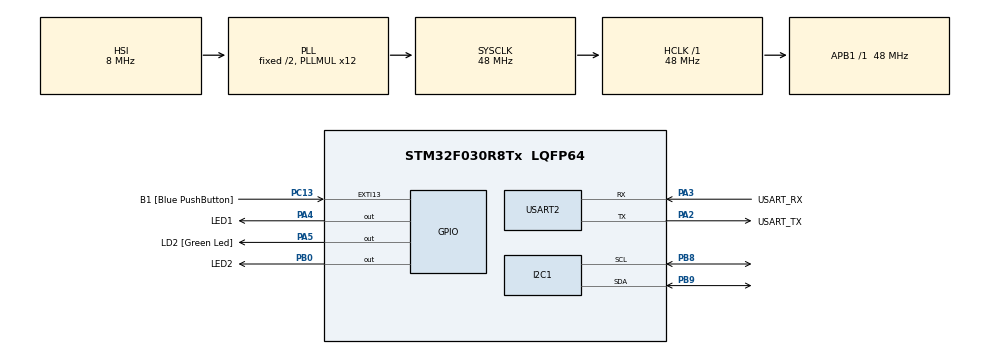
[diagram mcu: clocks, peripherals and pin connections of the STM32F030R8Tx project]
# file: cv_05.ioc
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Dma.Request0=USART2_RX
Dma.USART2_RX.0.Direction=DMA_PERIPH_TO_MEMORY
Dma.USART2_RX.0.Instance=DMA1_Channel5
Dma.USART2_RX.0.MemDataAlignment=DMA_MDATAALIGN_BYTE
Dma.USART2_RX.0.MemInc=DMA_MINC_ENABLE
Dma.USART2_RX.0.Mode=DMA_CIRCULAR
Dma.USART2_RX.0.PeriphDataAlignment=DMA_PDATAALIGN_BYTE
Dma.USART2_RX.0.PeriphInc=DMA_PINC_DISABLE
Dma.USART2_RX.0.Priority=DMA_PRIORITY_LOW
Mcu.Family=STM32F0
Mcu.Name=STM32F030R8Tx
Mcu.Package=LQFP64
NVIC.DMA1_Channel4_5_IRQn=true\:0\:0\:false\:false\:true\:false\:true
PA13.GPIO_Label=TMS
PA13.Mode=Serial_Wire
PA13.Signal=SYS_SWDIO
PA14.GPIO_Label=TCK
PA14.Mode=Serial_Wire
PA14.Signal=SYS_SWCLK
PA2.GPIO_Label=USART_TX
PA2.GPIO_Mode=GPIO_MODE_AF_PP
PA2.GPIO_PuPd=GPIO_NOPULL
PA2.GPIO_Speed=GPIO_SPEED_FREQ_LOW
PA2.Mode=Asynchronous
PA2.Signal=USART2_TX
PA3.GPIO_Label=USART_RX
PA3.GPIO_Mode=GPIO_MODE_AF_PP
PA3.GPIO_PuPd=GPIO_NOPULL
PA3.GPIO_Speed=GPIO_SPEED_FREQ_LOW
PA3.Mode=Asynchronous
PA3.Signal=USART2_RX
PA4.GPIO_Label=LED1
PA4.Signal=GPIO_Output
PA5.GPIO_Label=LD2 [Green Led]
PA5.GPIO_Mode=GPIO_MODE_OUTPUT_PP
PA5.GPIO_PuPd=GPIO_NOPULL
PA5.GPIO_Speed=GPIO_SPEED_FREQ_LOW
PA5.Signal=GPIO_Output
PB0.GPIO_Label=LED2
PB0.Signal=GPIO_Output
PB8.Mode=I2C
PB8.Signal=I2C1_SCL
PB9.Mode=I2C
PB9.Signal=I2C1_SDA
PC13.GPIO_Label=B1 [Blue PushButton]
PC13.GPIO_ModeDefaultEXTI=GPIO_MODE_IT_FALLING
PC13.Signal=GPXTI13
PC14-OSC32_IN.Mode=LSE-External-Oscillator
PC14-OSC32_IN.Signal=RCC_OSC32_IN
PC15-OSC32_OUT.Mode=LSE-External-Oscillator
PC15-OSC32_OUT.Signal=RCC_OSC32_OUT
PF0-OSC_IN.Mode=HSE-External-Clock-Source
PF0-OSC_IN.Signal=RCC_OSC_IN
PF1-OSC_OUT.Signal=RCC_OSC_OUT
ProjectManager.HeapSize=0x200
ProjectManager.StackSize=0x400
ProjectManager.TargetToolchain=STM32CubeIDE
RCC.AHBFreq_Value=48000000
RCC.APB1Freq_Value=48000000
RCC.APB1TimFreq_Value=48000000
RCC.HCLKFreq_Value=48000000
RCC.PLLMUL=RCC_PLL_MUL12
RCC.SYSCLKFreq_VALUE=48000000
RCC.SYSCLKSource=RCC_SYSCLKSOURCE_PLLCLK
USART2.VirtualMode-Asynchronous=VM_ASYNC
board=NUCLEO-F030R8

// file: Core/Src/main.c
/* USER CODE BEGIN Header */
/**
  ******************************************************************************
  * @file           : main.c
  * @brief          : Main program body
  ******************************************************************************
  * @attention
  *
  * <h2><center>&copy; Copyright (c) 2021 STMicroelectronics.
  * All rights reserved.</center></h2>
  *
  * This software component is licensed by ST under BSD 3-Clause license,
  * the "License"; You may not use this file except in compliance with the
  * License. You may obtain a copy of the License at:
  *                        opensource.org/licenses/BSD-3-Clause
  *
  ******************************************************************************
  */
/* USER CODE END Header */
#include "main.h"

/* USER CODE BEGIN Includes */
#include <stdio.h>
#include <string.h>
#include <stdlib.h>
/* USER CODE END Includes */

I2C_HandleTypeDef hi2c1;

UART_HandleTypeDef huart2;
DMA_HandleTypeDef hdma_usart2_rx;

/* USER CODE BEGIN PV */
#define EEPROM_ADDR 0xA0
#define CMD_BUFFER_LEN 64

#define RX_BUFFER_LEN 64
static uint8_t uart_rx_buf[RX_BUFFER_LEN];
static volatile uint16_t uart_rx_read_ptr = 0;
#define uart_rx_write_ptr (RX_BUFFER_LEN - hdma_usart2_rx.Instance->CNDTR)
/* USER CODE END PV */

void SystemClock_Config(void);
static void MX_GPIO_Init(void);
static void MX_USART2_UART_Init(void);
static void MX_DMA_Init(void);
static void MX_I2C1_Init(void);
/* USER CODE BEGIN PFP */

int _write(int file, char const *buf, int n)
{
 /* stdout redirection to UART2 */
 HAL_UART_Transmit(&huart2, (uint8_t*)(buf), n, HAL_MAX_DELAY);
 return n;
}

static void uart_process_command(char *cmd)
{
	//printf("prijato: '%s'\n", cmd);

	char *token;
	token = strtok(cmd, " ");
	if (strcasecmp(token, "HELLO") == 0) {
		printf("Komunikace OK\n");
	}
	else if (strcasecmp(token, "LED1") == 0) {
		token = strtok(NULL, " ");
		if (strcasecmp(token, "ON") == 0) HAL_GPIO_WritePin(LED1_GPIO_Port, LED1_Pin, GPIO_PIN_SET);
		else if (strcasecmp(token, "OFF") == 0) HAL_GPIO_WritePin(LED1_GPIO_Port, LED1_Pin, GPIO_PIN_RESET);
		printf("OK\n");
	}

	else if (strcasecmp(token, "LED2") == 0) {
		token = strtok(NULL, " ");
		if (strcasecmp(token, "ON") == 0) HAL_GPIO_WritePin(LED2_GPIO_Port, LED2_Pin, GPIO_PIN_SET);
		else if (strcasecmp(token, "OFF") == 0) HAL_GPIO_WritePin(LED2_GPIO_Port, LED2_Pin, GPIO_PIN_RESET);
		printf("OK\n");
	}

	else if (strcasecmp(token, "STATUS") == 0) {
		char *state1 = 0;
		char *state2 = 0;
		if (HAL_GPIO_ReadPin(LED1_GPIO_Port, LED1_Pin)==0) {state1 = "OFF";} else {state1 = "ON";};
		if (HAL_GPIO_ReadPin(LED2_GPIO_Port, LED2_Pin)==0) {state1 = "OFF";} else {state1 = "ON";};
		printf("Stav LED1 = %s , LED2 = %s\n",state1,state2);
	}

	else if(strcasecmp(token, "READ")==0) {
		token = strtok(NULL, " ");
		uint16_t addr = atoi(token);
		uint8_t value;
		HAL_I2C_Mem_Read(&hi2c1, EEPROM_ADDR, addr, I2C_MEMADD_SIZE_16BIT, &value, 1, 1000);
		printf("Adresa 0x%04X = 0x%02X\n", addr, value);
	}

	else if(strcasecmp(token, "WRITE")==0) {
		token = strtok(NULL, " ");
		uint16_t addr = atoi(token);
		token = strtok(NULL, " ");
		uint8_t value = atoi(token);
		HAL_I2C_Mem_Write(&hi2c1, EEPROM_ADDR, addr, I2C_MEMADD_SIZE_16BIT, &value, 1, 1000);
		/* Check if the EEPROM is ready for a new operation */
		while (HAL_I2C_IsDeviceReady(&hi2c1, EEPROM_ADDR, 300, 1000) == HAL_TIMEOUT) {}
		printf("OK\n");
	}

	else if(strcasecmp(token, "DUMP")==0) {

		for(uint8_t i = 0; i<8; i++ ) {
		printf(" 0x%02X ", i);
		}
		printf("\n");
		for(uint8_t i = 8; i<16; i++ ) {
		printf(" 0x%02X ", i);
		}

	}

	 else {
		 printf("Neznamy prikaz\n");
	 }
}

static void uart_byte_available(uint8_t c)
{
 static uint16_t cnt;
 static char data[CMD_BUFFER_LEN];
 if (cnt < CMD_BUFFER_LEN && c >= 32 && c <= 126) data[cnt++] = c;
 if ((c == '\n' || c == '\r') && cnt > 0) {
 data[cnt] = '\0';
 uart_process_command(data);
 cnt = 0;
 }
}

/* USER CODE END PFP */

int main(void)
{

  /* MCU Configuration--------------------------------------------------------*/

  /* Reset of all peripherals, Initializes the Flash interface and the Systick. */
  HAL_Init();

  /* Configure the system clock */
  SystemClock_Config();

  /* Initialize all configured peripherals */
  MX_GPIO_Init();
  MX_USART2_UART_Init();
  MX_DMA_Init();
  MX_I2C1_Init();
  /* USER CODE BEGIN 2 */
  HAL_UART_Receive_DMA(&huart2, uart_rx_buf, RX_BUFFER_LEN);
  /* USER CODE END 2 */

  /* Infinite loop */
  while (1)
  {

    /* USER CODE BEGIN 3 */

	  while (uart_rx_read_ptr != uart_rx_write_ptr) {
	   uint8_t b = uart_rx_buf[uart_rx_read_ptr];
	   if (++uart_rx_read_ptr >= RX_BUFFER_LEN) uart_rx_read_ptr = 0; // increase read pointer
	   uart_byte_available(b); // process every received byte with the RX state machine
	  }
/*
	  uint8_t c;
	  HAL_UART_Receive(&huart2, &c, 1, HAL_MAX_DELAY);
	  HAL_UART_Transmit(&huart2, &c, 1, HAL_MAX_DELAY);
*/
  }
  /* USER CODE END 3 */
}

void SystemClock_Config(void)
{
  RCC_OscInitTypeDef RCC_OscInitStruct = {0};
  RCC_ClkInitTypeDef RCC_ClkInitStruct = {0};
  RCC_PeriphCLKInitTypeDef PeriphClkInit = {0};

  /** Initializes the RCC Oscillators according to the specified parameters
  * in the RCC_OscInitTypeDef structure.
  */
  RCC_OscInitStruct.OscillatorType = RCC_OSCILLATORTYPE_HSI;
  RCC_OscInitStruct.HSIState = RCC_HSI_ON;
  RCC_OscInitStruct.HSICalibrationValue = RCC_HSICALIBRATION_DEFAULT;
  RCC_OscInitStruct.PLL.PLLState = RCC_PLL_ON;
  RCC_OscInitStruct.PLL.PLLSource = RCC_PLLSOURCE_HSI;
  RCC_OscInitStruct.PLL.PLLMUL = RCC_PLL_MUL12;
  RCC_OscInitStruct.PLL.PREDIV = RCC_PREDIV_DIV1;
  if (HAL_RCC_OscConfig(&RCC_OscInitStruct) != HAL_OK)
  {
    Error_Handler();
  }
  /** Initializes the CPU, AHB and APB buses clocks
  */
  RCC_ClkInitStruct.ClockType = RCC_CLOCKTYPE_HCLK|RCC_CLOCKTYPE_SYSCLK
                              |RCC_CLOCKTYPE_PCLK1;
  RCC_ClkInitStruct.SYSCLKSource = RCC_SYSCLKSOURCE_PLLCLK;
  RCC_ClkInitStruct.AHBCLKDivider = RCC_SYSCLK_DIV1;
  RCC_ClkInitStruct.APB1CLKDivider = RCC_HCLK_DIV1;

  if (HAL_RCC_ClockConfig(&RCC_ClkInitStruct, FLASH_LATENCY_1) != HAL_OK)
  {
    Error_Handler();
  }
  PeriphClkInit.PeriphClockSelection = RCC_PERIPHCLK_I2C1;
  PeriphClkInit.I2c1ClockSelection = RCC_I2C1CLKSOURCE_HSI;
  if (HAL_RCCEx_PeriphCLKConfig(&PeriphClkInit) != HAL_OK)
  {
    Error_Handler();
  }
}

static void MX_I2C1_Init(void)
{

  hi2c1.Instance = I2C1;
  hi2c1.Init.Timing = 0x2000090E;
  hi2c1.Init.OwnAddress1 = 0;
  hi2c1.Init.AddressingMode = I2C_ADDRESSINGMODE_7BIT;
  hi2c1.Init.DualAddressMode = I2C_DUALADDRESS_DISABLE;
  hi2c1.Init.OwnAddress2 = 0;
  hi2c1.Init.OwnAddress2Masks = I2C_OA2_NOMASK;
  hi2c1.Init.GeneralCallMode = I2C_GENERALCALL_DISABLE;
  hi2c1.Init.NoStretchMode = I2C_NOSTRETCH_DISABLE;
  if (HAL_I2C_Init(&hi2c1) != HAL_OK)
  {
    Error_Handler();
  }
  /** Configure Analogue filter
  */
  if (HAL_I2CEx_ConfigAnalogFilter(&hi2c1, I2C_ANALOGFILTER_ENABLE) != HAL_OK)
  {
    Error_Handler();
  }
  /** Configure Digital filter
  */
  if (HAL_I2CEx_ConfigDigitalFilter(&hi2c1, 0) != HAL_OK)
  {
    Error_Handler();
  }

}

static void MX_USART2_UART_Init(void)
{

  huart2.Instance = USART2;
  huart2.Init.BaudRate = 38400;
  huart2.Init.WordLength = UART_WORDLENGTH_8B;
  huart2.Init.StopBits = UART_STOPBITS_1;
  huart2.Init.Parity = UART_PARITY_NONE;
  huart2.Init.Mode = UART_MODE_TX_RX;
  huart2.Init.HwFlowCtl = UART_HWCONTROL_NONE;
  huart2.Init.OverSampling = UART_OVERSAMPLING_16;
  huart2.Init.OneBitSampling = UART_ONE_BIT_SAMPLE_DISABLE;
  huart2.AdvancedInit.AdvFeatureInit = UART_ADVFEATURE_NO_INIT;
  if (HAL_UART_Init(&huart2) != HAL_OK)
  {
    Error_Handler();
  }

}

static void MX_DMA_Init(void)
{

  /* DMA controller clock enable */
  __HAL_RCC_DMA1_CLK_ENABLE();

  /* DMA interrupt init */
  /* DMA1_Channel4_5_IRQn interrupt configuration */
  HAL_NVIC_SetPriority(DMA1_Channel4_5_IRQn, 0, 0);
  HAL_NVIC_EnableIRQ(DMA1_Channel4_5_IRQn);

}

static void MX_GPIO_Init(void)
{
  GPIO_InitTypeDef GPIO_InitStruct = {0};

  /* GPIO Ports Clock Enable */
  __HAL_RCC_GPIOC_CLK_ENABLE();
  __HAL_RCC_GPIOF_CLK_ENABLE();
  __HAL_RCC_GPIOA_CLK_ENABLE();
  __HAL_RCC_GPIOB_CLK_ENABLE();

  /*Configure GPIO pin Output Level */
  HAL_GPIO_WritePin(GPIOA, LED1_Pin|LD2_Pin, GPIO_PIN_RESET);

  /*Configure GPIO pin Output Level */
  HAL_GPIO_WritePin(LED2_GPIO_Port, LED2_Pin, GPIO_PIN_RESET);

  /*Configure GPIO pin : B1_Pin */
  GPIO_InitStruct.Pin = B1_Pin;
  GPIO_InitStruct.Mode = GPIO_MODE_IT_FALLING;
  GPIO_InitStruct.Pull = GPIO_NOPULL;
  HAL_GPIO_Init(B1_GPIO_Port, &GPIO_InitStruct);

  /*Configure GPIO pins : LED1_Pin LD2_Pin */
  GPIO_InitStruct.Pin = LED1_Pin|LD2_Pin;
  GPIO_InitStruct.Mode = GPIO_MODE_OUTPUT_PP;
  GPIO_InitStruct.Pull = GPIO_NOPULL;
  GPIO_InitStruct.Speed = GPIO_SPEED_FREQ_LOW;
  HAL_GPIO_Init(GPIOA, &GPIO_InitStruct);

  /*Configure GPIO pin : LED2_Pin */
  GPIO_InitStruct.Pin = LED2_Pin;
  GPIO_InitStruct.Mode = GPIO_MODE_OUTPUT_PP;
  GPIO_InitStruct.Pull = GPIO_NOPULL;
  GPIO_InitStruct.Speed = GPIO_SPEED_FREQ_LOW;
  HAL_GPIO_Init(LED2_GPIO_Port, &GPIO_InitStruct);

}

void Error_Handler(void)
{
  __disable_irq();
  while (1)
  {
  }
}

/************************ (C) COPYRIGHT STMicroelectronics *****END OF FILE****/
